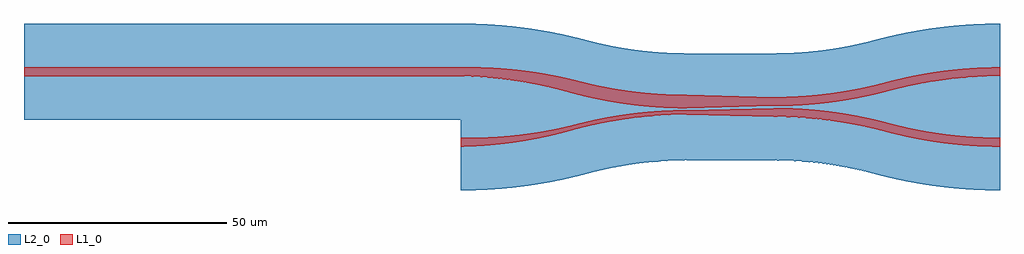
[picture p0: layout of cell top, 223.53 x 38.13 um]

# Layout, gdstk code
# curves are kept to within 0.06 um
import gdstk
lib = gdstk.Library(unit=1e-6, precision=1e-09)
def R(c, l, rs):  # rectangles x0, y0, x1, y1
    for r in rs: c.add(gdstk.rectangle(r[:2], r[2:], *l))
def P(c, l, *ps):  # polygons
    for p in ps: c.add(gdstk.Polygon(p, *l))
L1_0 = (1, 0)
L2_0 = (2, 0)

waveguide__60729d4b_880e = lib.new_cell('Waveguide--60729d4b-880e-422d-8a72-c5c5e4bafa45')
R(waveguide__60729d4b_880e, L1_0, [(0,-1,100,1)])
R(waveguide__60729d4b_880e, L2_0, [(0,-11,100,11)])

bdc__76fbe5f1_2c1e_4c62_ = lib.new_cell('BDC--76fbe5f1-2c1e-4c62-8f86-e9ba348e3c4c')
P(bdc__76fbe5f1_2c1e_4c62_, L1_0, [(100,1),(104.309,0.99),(108.817,0.782),(108.614,-1.543),(104.315,-1.177),(100,-1)],
  [(108.817,0.782),(113.316,0.373),(117.596,-0.206),(117.133,-2.832),(112.793,-2.08),(108.614,-1.543)],
  [(117.596,-0.206),(121.951,-0.987),(126.27,-1.959),(125.494,-4.856),(121.337,-3.753),(117.133,-2.832)],
  [(125.494,-4.856),(129.893,-5.931),(134.139,-6.773),(134.659,-3.818),(130.254,-2.938),(126.27,-1.959)],
  [(134.139,-6.773),(138.615,-7.46),(142.918,-7.929),(143.179,-4.94),(139.004,-4.485),(134.659,-3.818)],
  [(142.918,-7.929),(147.437,-8.223),(151.764,-8.315),(151.764,-5.315),(147.37,-5.217),(143.179,-4.94)],
  [(151.764,-5.315),(151.764,-8.315),(171.764,-7.815),(171.764,-5.815)],
  [(171.764,-7.815),(176.119,-7.721),(180.567,-7.43),(180.392,-5.438),(176.033,-5.723),(171.764,-5.815)],
  [(180.567,-7.43),(184.696,-6.984),(189.302,-6.28),(188.955,-4.311),(184.44,-5),(180.392,-5.438)],
  [(189.302,-6.28),(193.476,-5.454),(197.905,-4.373),(197.387,-2.441),(193.337,-3.436),(188.955,-4.311)],
  [(197.387,-2.441),(201.816,-1.361),(205.989,-0.534),(206.336,-2.504),(202.052,-3.357),(197.905,-4.373)],
  [(205.989,-0.534),(210.395,0.143),(214.725,0.616),(214.899,-1.377),(210.556,-1.853),(206.336,-2.504)],
  [(214.725,0.616),(219.071,0.902),(223.528,1),(223.528,-1),(219.16,-1.096),(214.899,-1.377)],
  [(100,-17.13),(104.25,-16.96),(108.788,-16.579),(108.643,-14.919),(104.272,-15.12),(100,-15.13)],
  [(108.788,-16.579),(113.4,-15.98),(117.481,-15.267),(117.249,-13.954),(113.202,-14.503),(108.643,-14.919)],
  [(117.481,-15.267),(121.721,-14.341),(126.011,-13.205),(125.752,-12.239),(121.469,-13.2),(117.249,-13.954)],
  [(125.752,-12.239),(130.159,-11.164),(134.312,-10.342),(134.486,-11.326),(130.179,-12.184),(126.011,-13.205)],
  [(134.312,-10.342),(138.496,-9.694),(143.005,-9.197),(143.092,-10.193),(138.43,-10.712),(134.486,-11.326)],
  [(143.005,-9.197),(147.43,-8.908),(151.764,-8.815),(151.764,-9.815),(147.474,-9.907),(143.092,-10.193)],
  [(151.764,-8.815),(151.764,-9.815),(171.764,-10.315),(171.764,-8.315)],
  [(171.764,-8.315),(176.018,-8.404),(180.567,-8.699),(180.392,-10.692),(176.132,-10.411),(171.764,-10.315)],
  [(180.567,-8.699),(184.897,-9.172),(189.302,-9.849),(188.955,-11.819),(184.637,-11.155),(180.392,-10.692)],
  [(189.302,-9.849),(193.377,-10.654),(197.905,-11.756),(197.387,-13.688),(193.24,-12.672),(188.955,-11.819)],
  [(197.387,-13.688),(201.717,-14.747),(205.989,-15.595),(206.336,-13.626),(201.955,-12.751),(197.905,-11.756)],
  [(205.989,-15.595),(210.194,-16.246),(214.725,-16.745),(214.899,-14.753),(210.753,-14.302),(206.336,-13.626)],
  [(214.725,-16.745),(219.173,-17.036),(223.528,-17.13),(223.528,-15.13),(219.259,-15.038),(214.899,-14.753)])
R(bdc__76fbe5f1_2c1e_4c62_, L2_0, [(151.764,-20.315,171.764,1.685), (151.764,-17.815,171.764,4.185)])
P(bdc__76fbe5f1_2c1e_4c62_, L2_0, [(100,11),(104.741,10.899),(109.674,10.578),(107.757,-11.339),(103.963,-11.088),(100,-11)],
  [(109.674,10.578),(114.388,10.064),(119.275,9.314),(115.455,-12.352),(111.617,-11.761),(107.757,-11.339)],
  [(119.275,9.314),(123.926,8.391),(128.729,7.218),(123.035,-14.033),(119.342,-13.127),(115.455,-12.352)],
  [(123.035,-14.033),(127.739,-15.184),(132.489,-16.128),(136.309,5.537),(132.422,6.312),(128.729,7.218)],
  [(132.489,-16.128),(137.075,-16.839),(142.09,-17.392),(144.007,4.524),(140.067,4.957),(136.309,5.537)],
  [(142.09,-17.392),(147.023,-17.714),(151.764,-17.815),(151.764,4.185),(147.801,4.273),(144.007,4.524)],
  [(171.764,-17.815),(176.505,-17.714),(181.438,-17.392),(179.521,4.524),(175.727,4.273),(171.764,4.185)],
  [(181.438,-17.392),(186.452,-16.839),(191.039,-16.128),(187.218,5.537),(183.461,4.957),(179.521,4.524)],
  [(191.039,-16.128),(195.789,-15.184),(200.493,-14.033),(194.799,7.218),(191.106,6.312),(187.218,5.537)],
  [(194.799,7.218),(199.601,8.391),(204.253,9.314),(208.073,-12.352),(204.343,-13.092),(200.493,-14.033)],
  [(204.253,9.314),(209.139,10.064),(213.853,10.578),(215.771,-11.339),(211.911,-11.761),(208.073,-12.352)],
  [(213.853,10.578),(218.787,10.899),(223.528,11),(223.528,-11),(219.565,-11.088),(215.771,-11.339)],
  [(100,-27.13),(104.943,-27.02),(109.674,-26.707),(107.757,-4.791),(104.044,-5.038),(100,-5.13)],
  [(109.674,-26.707),(114.688,-26.154),(119.275,-25.443),(115.455,-3.778),(111.697,-4.358),(107.757,-4.791)],
  [(119.275,-25.443),(124.025,-24.499),(128.729,-23.347),(123.035,-2.097),(119.421,-2.985),(115.455,-3.778)],
  [(123.035,-2.097),(127.936,-0.902),(132.489,-0.001),(136.309,-21.667),(132.501,-22.424),(128.729,-23.347)],
  [(132.489,-0.001),(137.275,0.736),(142.09,1.263),(144.007,-20.654),(140.147,-21.076),(136.309,-21.667)],
  [(142.09,1.263),(146.922,1.58),(151.764,1.685),(151.764,-20.315),(147.639,-20.41),(144.007,-20.654)],
  [(171.764,1.685),(176.606,1.58),(181.438,1.263),(179.521,-20.654),(175.888,-20.41),(171.764,-20.315)],
  [(181.438,1.263),(186.252,0.736),(191.039,-0.001),(187.218,-21.667),(183.381,-21.076),(179.521,-20.654)],
  [(191.039,-0.001),(195.592,-0.902),(200.493,-2.097),(194.799,-23.347),(191.027,-22.424),(187.218,-21.667)],
  [(194.799,-23.347),(199.503,-24.499),(204.253,-25.443),(208.073,-3.778),(204.264,-3.02),(200.493,-2.097)],
  [(204.253,-25.443),(208.839,-26.154),(213.853,-26.707),(215.771,-4.791),(211.831,-4.358),(208.073,-3.778)],
  [(213.853,-26.707),(218.585,-27.02),(223.528,-27.13),(223.528,-5.13),(219.484,-5.038),(215.771,-4.791)])

top = lib.new_cell('top')
top.add(gdstk.Reference(waveguide__60729d4b_880e, (0,0)))
top.add(gdstk.Reference(bdc__76fbe5f1_2c1e_4c62_, (0,0)))

lib.write_gds('top.gds')
